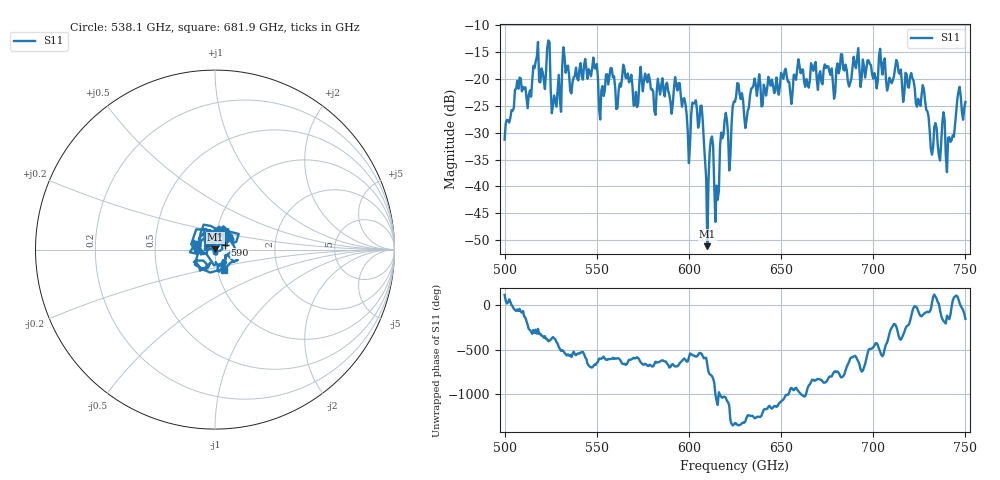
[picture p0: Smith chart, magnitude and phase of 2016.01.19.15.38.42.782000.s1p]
!Created with skrf (http://scikit-rf.org).
# GHz S RI R 50.0
!freq ReS11 ImS11
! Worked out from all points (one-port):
!   401 points, 500 GHz to 750 GHz, reference 50 ohm
!   lowest |S11| = -51.1 dB at 610 GHz (marker M1), VSWR 1.01, Z = 50.2 + j0.213 ohm
!   |S11| at or under -10 dB: start of sweep to end of sweep
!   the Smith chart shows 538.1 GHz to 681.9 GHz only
!   S11 on the Smith chart (normalised r, x): 538.1 GHz: 0.81, +0.04; 590 GHz: 1.11, +0.06; 681.9 GHz: 1.07, -0.25
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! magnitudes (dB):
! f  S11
! 500 GHz  -31.3
! 507.5 GHz  -21.8
! 513.1 GHz  -22.9
! 516.9 GHz  -16.7
! 523.8 GHz  -12.8
! 526.9 GHz  -23.1
! 531.2 GHz  -17.6
! 538.1 GHz  -19.4
! 562.5 GHz  -20.8
! 590 GHz  -24.3
! 593.8 GHz  -22.1
! 600 GHz  -35.7
! 602.5 GHz  -24.5
! 606.9 GHz  -25.0
! 610 GHz  -51.1
! 612.5 GHz  -30.7
! 615 GHz  -39.9
! 618.8 GHz  -30.4
! 622.5 GHz  -34.4
! 625 GHz  -24.3
! 631.2 GHz  -27.7
! 635 GHz  -21.2
! 656.2 GHz  -22.5
! 681.9 GHz  -18.1
! 687.5 GHz  -20.8
! 718.8 GHz  -21.4
! 735.6 GHz  -34.2
! 750 GHz  -24.3
